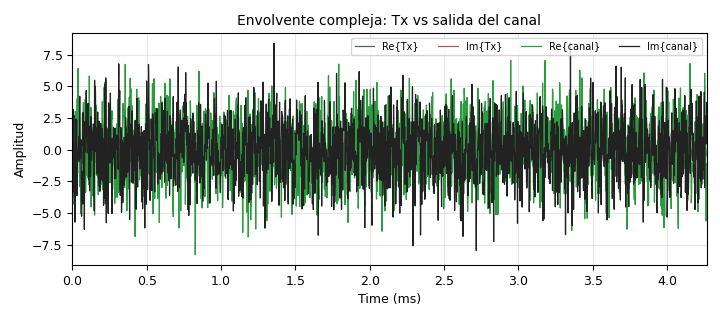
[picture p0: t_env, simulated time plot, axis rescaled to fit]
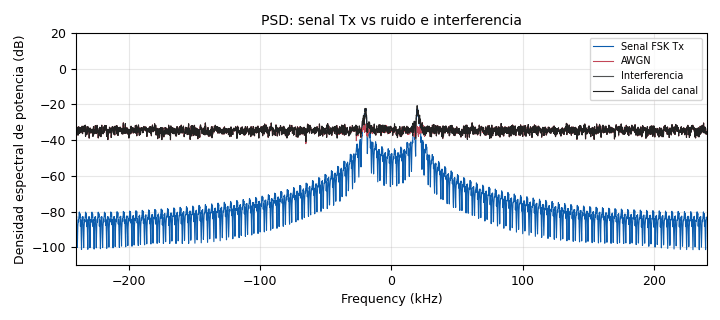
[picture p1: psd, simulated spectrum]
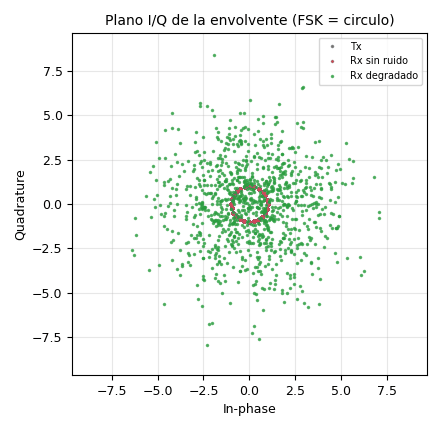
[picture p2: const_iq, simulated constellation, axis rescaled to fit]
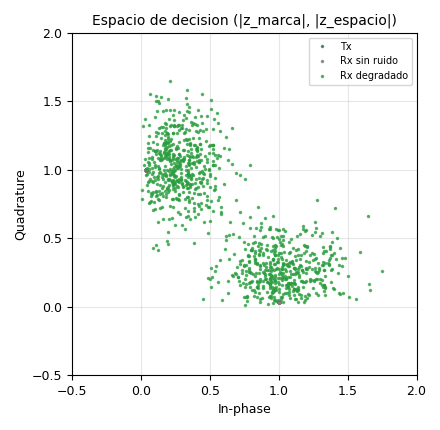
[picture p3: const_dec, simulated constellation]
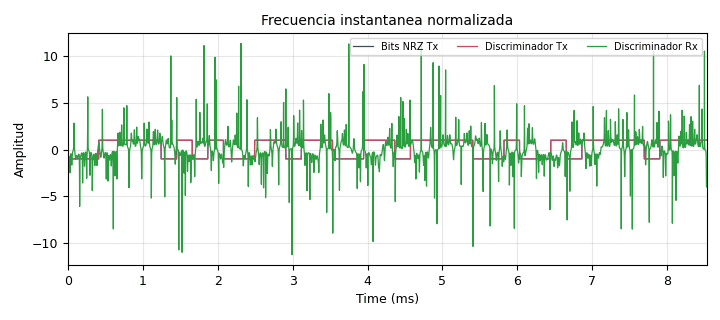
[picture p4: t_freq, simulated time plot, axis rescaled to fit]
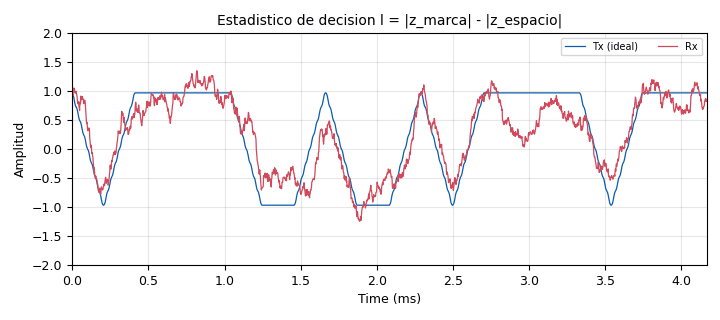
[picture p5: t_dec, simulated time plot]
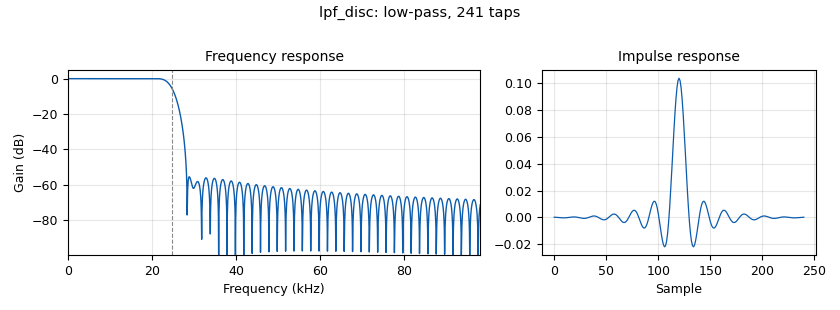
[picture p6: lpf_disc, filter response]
options:
  parameters:
    author: Grupo E1 - Rincon, Veloza, Torres
    description: 'Fase 2: Tx BFSK / canal AWGN + interferencia / Rx no coherente y BER'
    generate_options: qt_gui
    id: FSK_TxRx_Interferencia
    output_language: python
    title: FSK Tx-Canal-Rx con AWGN e interferencia (Fase 2, E1)
  states: {}

blocks:
- name: samp_rate
  id: variable
  parameters:
    comment: samp_rate = Rb*sps = 480 kHz
    value: Rb*sps
  states: {}
- name: Rb
  id: variable
  parameters:
    comment: 'Fase 1 (E1): Rb = 4.8 kbps (BFSK: Rs = Rb)'
    value: '4800'
  states: {}
- name: sps
  id: variable
  parameters:
    value: '100'
  states: {}
- name: fsk_deviation
  id: variable
  parameters:
    comment: |-
      Fase 1 (E1): desviacion de frecuencia 20 kHz
      marca = +df, espacio = -df
    value: 20e3
  states: {}
- name: noise_amp
  id: variable
  parameters:
    comment: |-
      Potencia de la senal = 1 (envolvente constante)
      Eb/N0 = (1/Rb)/(sigma^2/samp_rate) = sps/sigma^2
    value: math.sqrt(sps/(10**(EbN0_dB/10.0)))
  states: {}
- name: A_int
  id: variable
  parameters:
    comment: Amplitud del tono interferente (P_s = 1)
    value: int_on*10**(-SIR_dB/20.0)
  states: {}
- name: ber_len
  id: variable
  parameters:
    comment: Ventana de promediado del BER (bits)
    value: '20000'
  states: {}
- name: EbN0_dB
  id: variable_qtgui_range
  parameters:
    label: '"Eb/N0 (dB)"'
    value: '10'
    start: '-2'
    stop: '20'
    step: '0.5'
    gui_hint: 0,0,1,1
  states: {}
- name: int_on
  id: variable_qtgui_check_box
  parameters:
    label: '"Interferencia co-canal (tono)"'
    type: int
    value: '0'
    'true': '1'
    'false': '0'
    gui_hint: 1,0,1,1
  states: {}
- name: SIR_dB
  id: variable_qtgui_range
  parameters:
    label: '"SIR tono (dB)"'
    value: '10'
    start: '-10'
    stop: '30'
    step: '1'
    gui_hint: 1,1,1,1
  states: {}
- name: f_int
  id: variable_qtgui_range
  parameters:
    label: '"Frecuencia tono (Hz)"'
    value: 20e3
    start: '-100e3'
    stop: 100e3
    step: 1e3
    gui_hint: 1,2,1,1
  states: {}
- name: imp_on
  id: variable_qtgui_check_box
  parameters:
    label: '"Ruido impulsivo industrial"'
    type: int
    value: '0'
    'true': '1'
    'false': '0'
    gui_hint: 2,0,1,1
  states: {}
- name: imp_amp
  id: variable_qtgui_range
  parameters:
    label: '"Amplitud RMS impulsos"'
    value: '50'
    start: '0'
    stop: '200'
    step: '1'
    gui_hint: 2,1,1,1
  states: {}
- name: p_imp
  id: variable_qtgui_range
  parameters:
    label: '"Prob. impulso por muestra"'
    value: '0.002'
    start: '0'
    stop: '0.02'
    step: '0.0005'
    gui_hint: 2,2,1,1
  states: {}
- name: B_carson_lbl
  id: variable_qtgui_label
  parameters:
    label: '"B Carson (Hz)"'
    value: 2*(fsk_deviation+Rb)
    type: real
    gui_hint: 0,1,1,1
  states: {}
- name: h_lbl
  id: variable_qtgui_label
  parameters:
    label: '"Indice h = 2*df/Rb"'
    value: 2*fsk_deviation/Rb
    type: real
    gui_hint: 0,2,1,1
  states: {}
- name: imports
  id: import
  parameters:
    imports: import math
  states: {}
- name: tabs
  id: qtgui_tab_widget
  parameters:
    num_tabs: '5'
    label0: '''Tiempo'''
    label1: '''PSD'''
    label2: '''Constelacion / espacio de decision'''
    label3: '''Frecuencia instantanea'''
    label4: '''Estadistico de decision y BER'''
    gui_hint: 3,0,1,3
  states: {}
- name: bits_src
  id: analog_random_source_x
  parameters:
    type: byte
    min: '0'
    max: '2'
    num_samps: '65536'
    repeat: 'True'
  states: {}
- name: nrz
  id: digital_chunks_to_symbols_xx
  parameters:
    comment: |-
      bit 0 -> -1 (espacio, -df)
      bit 1 -> +1 (marca, +df)
    in_type: byte
    out_type: float
    symbol_table: '[-1.0, 1.0]'
    dimension: '1'
  states: {}
- name: rep
  id: blocks_repeat
  parameters:
    type: float
    interp: sps
  states: {}
- name: fsk_mod
  id: analog_frequency_modulator_fc
  parameters:
    comment: CPFSK (fase continua)
    sensitivity: 2*math.pi*fsk_deviation/samp_rate
  states: {}
- name: throttle
  id: blocks_throttle2
  parameters:
    type: complex
    samples_per_second: samp_rate
  states: {}
- name: awgn
  id: analog_noise_source_x
  parameters:
    type: complex
    noise_type: analog.GR_GAUSSIAN
    amp: noise_amp
    seed: '0'
  states: {}
- name: tono_int
  id: analog_sig_source_x
  parameters:
    comment: Interferencia co-canal ISM 433 MHz (banda estrecha)
    type: complex
    samp_rate: samp_rate
    waveform: analog.GR_COS_WAVE
    freq: f_int
    amp: A_int
    offset: '0'
    phase: '0'
  states: {}
- name: imp_gauss
  id: analog_noise_source_x
  parameters:
    comment: |-
      Ruido impulsivo Bernoulli-Gauss
      (motores, variadores, arcos)
      /sqrt(2): la compuerta es (1+j)
    type: complex
    noise_type: analog.GR_GAUSSIAN
    amp: imp_on*imp_amp/math.sqrt(2)
    seed: '1'
  states: {}
- name: imp_unif
  id: analog_noise_source_x
  parameters:
    type: float
    noise_type: analog.GR_UNIFORM
    amp: '1'
    seed: '2'
  states: {}
- name: imp_gate
  id: blocks_threshold_ff
  parameters:
    comment: 1 con probabilidad p_imp
    low: 1-2*p_imp
    high: 1-2*p_imp
    init: '0'
  states: {}
- name: imp_gate_c
  id: blocks_float_to_complex
  parameters: {}
  states: {}
- name: impulsos
  id: blocks_multiply_xx
  parameters:
    type: complex
  states: {}
- name: suma_int
  id: blocks_add_xx
  parameters:
    type: complex
  states: {}
- name: rx_sin_ruido
  id: blocks_add_xx
  parameters:
    comment: Tx + interferencia (sin AWGN)
    type: complex
  states: {}
- name: canal
  id: blocks_add_xx
  parameters:
    comment: Salida del canal = Tx + AWGN + interferencia
    type: complex
    num_inputs: '3'
  states: {}
- name: tx_rot1
  id: blocks_rotator_cc
  parameters:
    phase_inc: '-2*math.pi*fsk_deviation/samp_rate'
  states: {}
- name: tx_rot0
  id: blocks_rotator_cc
  parameters:
    phase_inc: 2*math.pi*fsk_deviation/samp_rate
  states: {}
- name: tx_int1
  id: blocks_moving_average_xx
  parameters:
    type: complex
    length: sps
    scale: 1.0/sps
    max_iter: '4000'
  states: {}
- name: tx_int0
  id: blocks_moving_average_xx
  parameters:
    type: complex
    length: sps
    scale: 1.0/sps
    max_iter: '4000'
  states: {}
- name: tx_env1
  id: blocks_complex_to_mag
  parameters: {}
  states: {}
- name: tx_env0
  id: blocks_complex_to_mag
  parameters: {}
  states: {}
- name: tx_m1
  id: blocks_keep_one_in_n
  parameters:
    type: float
    n: sps
  states: {}
- name: tx_m0
  id: blocks_keep_one_in_n
  parameters:
    type: float
    n: sps
  states: {}
- name: tx_ed
  id: blocks_float_to_complex
  parameters: {}
  states: {}
- name: rsr_rot1
  id: blocks_rotator_cc
  parameters:
    phase_inc: '-2*math.pi*fsk_deviation/samp_rate'
  states: {}
- name: rsr_rot0
  id: blocks_rotator_cc
  parameters:
    phase_inc: 2*math.pi*fsk_deviation/samp_rate
  states: {}
- name: rsr_int1
  id: blocks_moving_average_xx
  parameters:
    type: complex
    length: sps
    scale: 1.0/sps
    max_iter: '4000'
  states: {}
- name: rsr_int0
  id: blocks_moving_average_xx
  parameters:
    type: complex
    length: sps
    scale: 1.0/sps
    max_iter: '4000'
  states: {}
- name: rsr_env1
  id: blocks_complex_to_mag
  parameters: {}
  states: {}
- name: rsr_env0
  id: blocks_complex_to_mag
  parameters: {}
  states: {}
- name: rsr_m1
  id: blocks_keep_one_in_n
  parameters:
    type: float
    n: sps
  states: {}
- name: rsr_m0
  id: blocks_keep_one_in_n
  parameters:
    type: float
    n: sps
  states: {}
- name: rsr_ed
  id: blocks_float_to_complex
  parameters: {}
  states: {}
- name: rx_rot1
  id: blocks_rotator_cc
  parameters:
    comment: Baja la marca (+df) a 0 Hz
    phase_inc: '-2*math.pi*fsk_deviation/samp_rate'
  states: {}
- name: rx_rot0
  id: blocks_rotator_cc
  parameters:
    comment: Baja el espacio (-df) a 0 Hz
    phase_inc: 2*math.pi*fsk_deviation/samp_rate
  states: {}
- name: rx_int1
  id: blocks_moving_average_xx
  parameters:
    comment: Integrador sobre Tb (filtro acoplado)
    type: complex
    length: sps
    scale: 1.0/sps
    max_iter: '4000'
  states: {}
- name: rx_int0
  id: blocks_moving_average_xx
  parameters:
    type: complex
    length: sps
    scale: 1.0/sps
    max_iter: '4000'
  states: {}
- name: rx_env1
  id: blocks_complex_to_mag
  parameters: {}
  states: {}
- name: rx_env0
  id: blocks_complex_to_mag
  parameters: {}
  states: {}
- name: rx_m1
  id: blocks_keep_one_in_n
  parameters:
    comment: Muestreo al final de cada simbolo
    type: float
    n: sps
  states: {}
- name: rx_m0
  id: blocks_keep_one_in_n
  parameters:
    type: float
    n: sps
  states: {}
- name: rx_ed
  id: blocks_float_to_complex
  parameters:
    comment: 'Espacio de decision: I=|z_marca|, Q=|z_espacio|'
  states: {}
- name: rx_dif
  id: blocks_sub_xx
  parameters:
    comment: l = |z_marca| - |z_espacio|
    type: float
  states: {}
- name: tx_dif
  id: blocks_sub_xx
  parameters:
    type: float
  states: {}
- name: slicer
  id: digital_binary_slicer_fb
  parameters:
    comment: l > 0 -> 1, l < 0 -> 0
  states: {}
- name: rx_dec
  id: blocks_keep_one_in_n
  parameters:
    type: float
    n: sps
  states: {}
- name: xor_err
  id: blocks_xor_xx
  parameters:
    comment: |-
      El receptor no introduce retardo:
      bit k Rx se compara con bit k Tx
    type: byte
  states: {}
- name: err_f
  id: blocks_char_to_float
  parameters:
    scale: '1'
  states: {}
- name: ber_avg
  id: blocks_moving_average_xx
  parameters:
    type: float
    length: ber_len
    scale: 1.0/ber_len
    max_iter: '4000'
  states: {}
- name: ber_num
  id: qtgui_number_sink
  parameters:
    name: '"BER medido"'
    type: float
    graph_type: qtgui.NUM_GRAPH_HORIZ
    min: '0'
    max: '0.5'
    update_time: '0.20'
    gui_hint: tabs@4
    label1: '"BER"'
    unit1: '""'
  states: {}
- name: ber_probe
  id: blocks_probe_signal_x
  parameters:
    type: float
  states: {}
- name: lpf_disc
  id: low_pass_filter
  parameters:
    comment: Ancho ~ Carson/2
    type: fir_filter_ccf
    decim: '1'
    gain: '1'
    samp_rate: samp_rate
    cutoff_freq: fsk_deviation+Rb
    width: Rb
    win: window.WIN_HAMMING
  states: {}
- name: disc_tx
  id: analog_quadrature_demod_cf
  parameters:
    gain: samp_rate/(2*math.pi*fsk_deviation)
  states: {}
- name: disc_rx
  id: analog_quadrature_demod_cf
  parameters:
    gain: samp_rate/(2*math.pi*fsk_deviation)
  states: {}
- name: t_env
  id: qtgui_time_sink_x
  parameters:
    type: complex
    name: '"Envolvente compleja: Tx vs salida del canal"'
    size: '2048'
    srate: samp_rate
    grid: 'True'
    ymin: '-3'
    ymax: '3'
    nconnections: '2'
    ylabel: '"Amplitud"'
    entags: 'False'
    gui_hint: tabs@0
    label1: '"Re{Tx}"'
    label2: '"Im{Tx}"'
    label3: '"Re{canal}"'
    label4: '"Im{canal}"'
  states: {}
- name: psd
  id: qtgui_freq_sink_x
  parameters:
    type: complex
    name: '"PSD: senal Tx vs ruido e interferencia"'
    fftsize: '4096'
    fc: '0'
    bw: samp_rate
    grid: 'True'
    average: '0.1'
    ymin: '-110'
    ymax: '20'
    label: '"Densidad espectral de potencia"'
    nconnections: '4'
    gui_hint: tabs@1
    label1: '"Senal FSK Tx"'
    label2: '"AWGN"'
    label3: '"Interferencia"'
    label4: '"Salida del canal"'
  states: {}
- name: const_iq
  id: qtgui_const_sink_x
  parameters:
    type: complex
    name: '"Plano I/Q de la envolvente (FSK = circulo)"'
    size: '1024'
    grid: 'True'
    xmin: '-3'
    xmax: '3'
    ymin: '-3'
    ymax: '3'
    nconnections: '3'
    gui_hint: tabs@2
    label1: '"Tx"'
    label2: '"Rx sin ruido"'
    label3: '"Rx degradado"'
  states: {}
- name: const_dec
  id: qtgui_const_sink_x
  parameters:
    type: complex
    name: '"Espacio de decision (|z_marca|, |z_espacio|)"'
    size: '1024'
    grid: 'True'
    xmin: '-0.5'
    ymin: '-0.5'
    nconnections: '3'
    gui_hint: tabs@2
    label1: '"Tx"'
    label2: '"Rx sin ruido"'
    label3: '"Rx degradado"'
  states: {}
- name: t_freq
  id: qtgui_time_sink_x
  parameters:
    type: float
    name: '"Frecuencia instantanea normalizada"'
    size: '4096'
    srate: samp_rate
    grid: 'True'
    ymin: '-3'
    ymax: '3'
    nconnections: '3'
    ylabel: '"Amplitud"'
    entags: 'False'
    gui_hint: tabs@3
    label1: '"Bits NRZ Tx"'
    label2: '"Discriminador Tx"'
    label3: '"Discriminador Rx"'
  states: {}
- name: t_dec
  id: qtgui_time_sink_x
  parameters:
    type: float
    name: '"Estadistico de decision l = |z_marca| - |z_espacio|"'
    size: '2000'
    srate: samp_rate
    grid: 'True'
    ymin: '-2'
    ymax: '2'
    nconnections: '2'
    ylabel: '"Amplitud"'
    entags: 'False'
    gui_hint: tabs@4
    label1: '"Tx (ideal)"'
    label2: '"Rx"'
  states: {}

connections:
- [bits_src, '0', nrz, '0']
- [nrz, '0', rep, '0']
- [rep, '0', fsk_mod, '0']
- [fsk_mod, '0', throttle, '0']
- [imp_unif, '0', imp_gate, '0']
- [imp_gate, '0', imp_gate_c, '0']
- [imp_gate, '0', imp_gate_c, '1']
- [imp_gauss, '0', impulsos, '0']
- [imp_gate_c, '0', impulsos, '1']
- [tono_int, '0', suma_int, '0']
- [impulsos, '0', suma_int, '1']
- [throttle, '0', rx_sin_ruido, '0']
- [suma_int, '0', rx_sin_ruido, '1']
- [throttle, '0', canal, '0']
- [awgn, '0', canal, '1']
- [suma_int, '0', canal, '2']
- [throttle, '0', tx_rot1, '0']
- [tx_rot1, '0', tx_int1, '0']
- [tx_int1, '0', tx_env1, '0']
- [tx_env1, '0', tx_m1, '0']
- [throttle, '0', tx_rot0, '0']
- [tx_rot0, '0', tx_int0, '0']
- [tx_int0, '0', tx_env0, '0']
- [tx_env0, '0', tx_m0, '0']
- [tx_m1, '0', tx_ed, '0']
- [tx_m0, '0', tx_ed, '1']
- [rx_sin_ruido, '0', rsr_rot1, '0']
- [rsr_rot1, '0', rsr_int1, '0']
- [rsr_int1, '0', rsr_env1, '0']
- [rsr_env1, '0', rsr_m1, '0']
- [rx_sin_ruido, '0', rsr_rot0, '0']
- [rsr_rot0, '0', rsr_int0, '0']
- [rsr_int0, '0', rsr_env0, '0']
- [rsr_env0, '0', rsr_m0, '0']
- [rsr_m1, '0', rsr_ed, '0']
- [rsr_m0, '0', rsr_ed, '1']
- [canal, '0', rx_rot1, '0']
- [rx_rot1, '0', rx_int1, '0']
- [rx_int1, '0', rx_env1, '0']
- [rx_env1, '0', rx_m1, '0']
- [canal, '0', rx_rot0, '0']
- [rx_rot0, '0', rx_int0, '0']
- [rx_int0, '0', rx_env0, '0']
- [rx_env0, '0', rx_m0, '0']
- [rx_m1, '0', rx_ed, '0']
- [rx_m0, '0', rx_ed, '1']
- [rx_env1, '0', rx_dif, '0']
- [rx_env0, '0', rx_dif, '1']
- [tx_env1, '0', tx_dif, '0']
- [tx_env0, '0', tx_dif, '1']
- [rx_dif, '0', rx_dec, '0']
- [rx_dec, '0', slicer, '0']
- [bits_src, '0', xor_err, '0']
- [slicer, '0', xor_err, '1']
- [xor_err, '0', err_f, '0']
- [err_f, '0', ber_avg, '0']
- [ber_avg, '0', ber_num, '0']
- [ber_avg, '0', ber_probe, '0']
- [canal, '0', lpf_disc, '0']
- [lpf_disc, '0', disc_rx, '0']
- [throttle, '0', disc_tx, '0']
- [throttle, '0', t_env, '0']
- [canal, '0', t_env, '1']
- [throttle, '0', psd, '0']
- [awgn, '0', psd, '1']
- [suma_int, '0', psd, '2']
- [canal, '0', psd, '3']
- [throttle, '0', const_iq, '0']
- [rx_sin_ruido, '0', const_iq, '1']
- [canal, '0', const_iq, '2']
- [tx_ed, '0', const_dec, '0']
- [rsr_ed, '0', const_dec, '1']
- [rx_ed, '0', const_dec, '2']
- [rep, '0', t_freq, '0']
- [disc_tx, '0', t_freq, '1']
- [disc_rx, '0', t_freq, '2']
- [tx_dif, '0', t_dec, '0']
- [rx_dif, '0', t_dec, '1']

metadata:
  file_format: 1
  grc_version: 3.10.12.0
